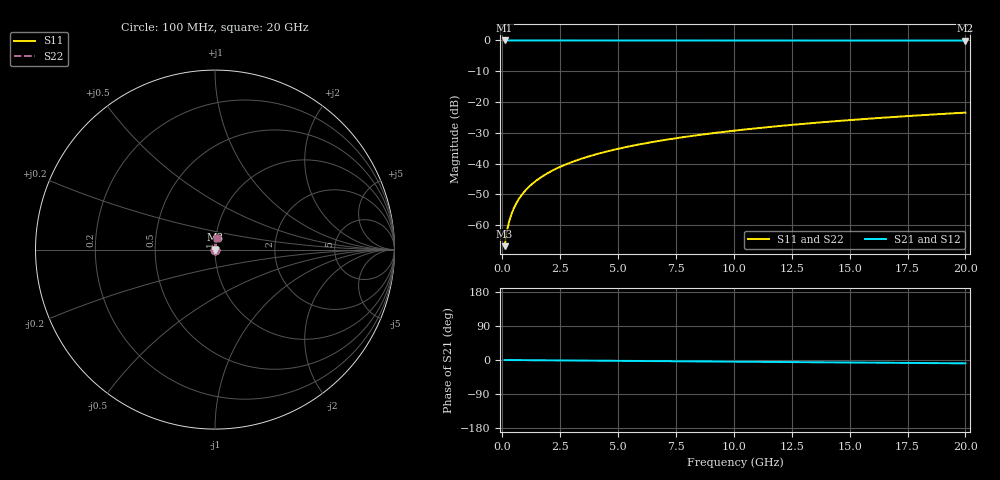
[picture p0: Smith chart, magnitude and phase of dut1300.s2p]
! Touchstone file exported from HFSS 2026.1.0
!  File:  C:/ffzhzh/LocalFiles/Ansys_Project_Files/temp_train_TSV_1300_1783194722_18472.aedt
!  Generated:  03:53:46 AM Jul  5, 2026
!  Design:  TSV
!  Project:  temp_train_TSV_1300_1783194722_18472
! Variables:
!  h_bsmrdl = 2um
!  h_ox = 20um
!  h_rdl = 5um
!  h_sub = 75.14um
!  h_tmrdl = 5um
!  h_tsv = 75.14um
!  h_via = 3um
!  l_bsmrdl = 300um
!  l_sub = 412.42um
!  l_tmrdl = 200um
!  m_sub = 200um
!  pitch = 48.66um
!  r_tsv = 6.21um
!  s_tmrdl = 10um
!  w_bsmrdl = 18um
!  w_sub = 500um
!  w_tmrdl = 12um
!  x_tsv_center1 = 206um
!  x_tsv_center2 = 524um
!  x_tsv_center3 = 736um
!  x_tsv_center4 = 1054um
!  x_tsv_center5 = 1266um
!  x_tsv_center6 = 1584um
# GHz S MA R 50.000000
! Terminal data exported
! Port[1] = TSV1_1_T1
! Port[2] = TSV1_1_T2
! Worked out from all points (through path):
!   200 points, 100 MHz to 20 GHz, reference 50 ohm
!   highest |S21| = 0.00 dB at 100 MHz (marker M1); lowest = 0.0 dB at 20 GHz (marker M2)
!   group delay of S21, straight-line fit = 1.22 ps
!   lowest |S11| = -66.8 dB at 100 MHz (marker M3), VSWR 1.00, Z = 50 + j0.038 ohm
!   |S11| at or under -10 dB: start of sweep to end of sweep
!   |S22| runs from -66.8 to -23.4 dB; largest |S21 - S12| = 2e-15
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0.1  0.0004586 55.9  0.9997 -0.0  0.9997 -0.0  0.0004586 55.9
! Gamma 0 0 0 0
! Port Impedance 50 0 50 0
0.2  0.0008034 70.6  0.9997 -0.1  0.9997 -0.1  0.0008034 70.6
0.3  0.001167 76.0  0.9997 -0.1  0.9997 -0.1  0.001167 76.0
0.4  0.001533 78.7  0.9997 -0.2  0.9997 -0.2  0.001533 78.7
0.5  0.001898 80.2  0.9997 -0.2  0.9997 -0.2  0.001898 80.2
0.6  0.002259 81.2  0.9997 -0.3  0.9997 -0.3  0.002259 81.2
0.7  0.002617 81.9  0.9996 -0.3  0.9996 -0.3  0.002617 81.9
0.8  0.002973 82.4  0.9996 -0.4  0.9996 -0.4  0.002973 82.4
1  0.003678 83.1  0.9996 -0.5  0.9996 -0.5  0.003678 83.1
1.4  0.005074 84.0  0.9995 -0.6  0.9995 -0.6  0.005074 84.0
1.7  0.006116 84.4  0.9995 -0.8  0.9995 -0.8  0.006116 84.4
2  0.007154 84.7  0.9994 -0.9  0.9994 -0.9  0.007154 84.7
2.7  0.009572 85.1  0.9993 -1.2  0.9993 -1.2  0.009572 85.1
3.5  0.01232 85.2  0.9992 -1.6  0.9992 -1.6  0.01232 85.2
4.2  0.01472 85.1  0.9991 -1.9  0.9991 -1.9  0.01472 85.1
5  0.01744 85.0  0.999 -2.2  0.999 -2.2  0.01744 85.0
6.8  0.02354 84.6  0.9987 -3.0  0.9987 -3.0  0.02354 84.6
8.3  0.02859 84.1  0.9985 -3.7  0.9985 -3.7  0.02859 84.1
10.1  0.03463 83.5  0.9982 -4.5  0.9982 -4.5  0.03463 83.5
13.4  0.04566 82.4  0.9976 -5.9  0.9976 -5.9  0.04566 82.4
16.7  0.05661 81.1  0.9969 -7.3  0.9969 -7.3  0.05661 81.1
20  0.06748 79.8  0.996 -8.8  0.996 -8.8  0.06748 79.8
